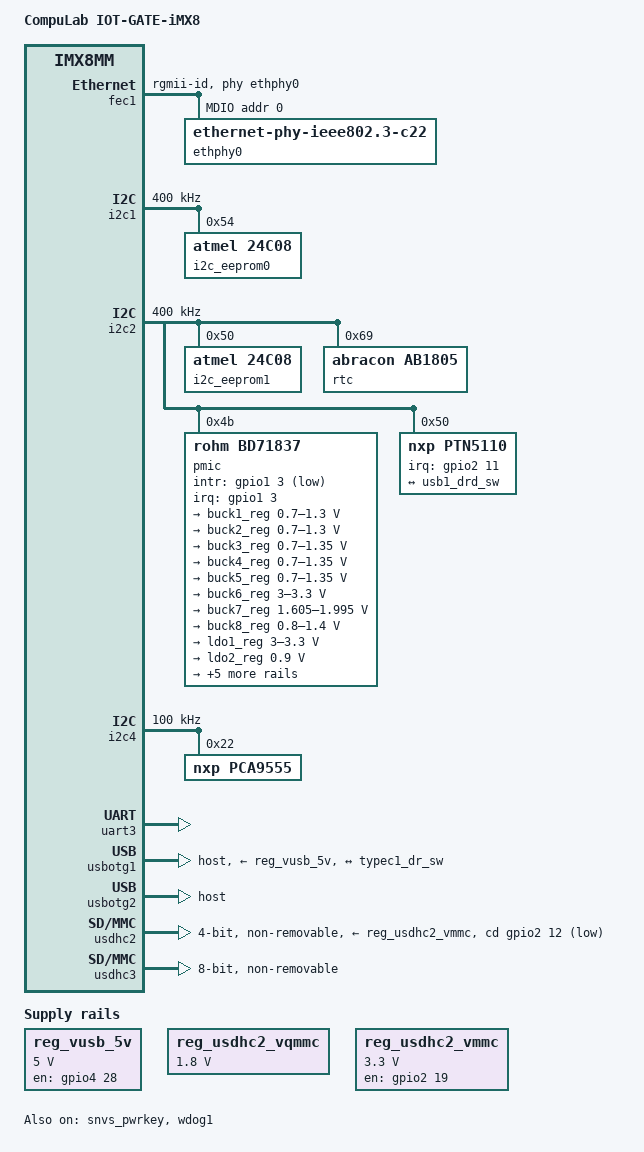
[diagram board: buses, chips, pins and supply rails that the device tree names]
// SPDX-License-Identifier: (GPL-2.0+ OR MIT)
/*
 * Copyright 2019 NXP
 */

/dts-v1/;

#include <dt-bindings/usb/pd.h>
#include "imx8mm.dtsi"

/ {
	model = "CompuLab IOT-GATE-iMX8";
	compatible = "sb-iotgimx8", "cpl,ucm-imx8m-mini", "fsl,imx8mm-evk", "fsl,imx8mm";

	chosen {
		bootargs = "console=ttymxc2,115200 earlycon=ec_imx6q,0x30880000,115200";
		stdout-path = &uart3;
	};

	aliases {
		eeprom0 = &i2c_eeprom0;
		eeprom1 = &i2c_eeprom1;
	};

	reg_vusb_5v: regulator-usdhc2 {
		compatible = "regulator-fixed";
		regulator-name = "VUSB_5V";
		regulator-min-microvolt = <5000000>;
		regulator-max-microvolt = <5000000>;
		gpio = <&gpio4 28 GPIO_ACTIVE_HIGH>;
		regulator-boot-on;
		enable-active-high;
	};

	reg_usdhc2_vqmmc: regulator-usdhc2_1v8 {
		compatible = "regulator-fixed";
		regulator-name = "usdhc2_1v8";
		regulator-min-microvolt = <1800000>;
		regulator-max-microvolt = <1800000>;
		regulator-always-on;
	};

	reg_usdhc2_vmmc: regulator-usdhc2-vmmc {
		compatible = "regulator-fixed";
		regulator-name = "VSD_3V3";
		regulator-min-microvolt = <3300000>;
		regulator-max-microvolt = <3300000>;
		gpio = <&gpio2 19 GPIO_ACTIVE_HIGH>;
		enable-active-high;
		startup-delay-us = <100>;
		off-on-delay-us = <12000>;
	};
};

&A53_0 {
	cpu-supply = <&buck2_reg>;
};

&fec1 {
	pinctrl-names = "default";
	pinctrl-0 = <&pinctrl_fec1>;
	phy-mode = "rgmii-id";
	phy-handle = <&ethphy0>;
	fsl,magic-packet;
	status = "okay";

	mdio {
		#address-cells = <1>;
		#size-cells = <0>;

		ethphy0: ethernet-phy@0 {
			compatible = "ethernet-phy-ieee802.3-c22";
			reg = <0>;
			at803x,led-act-blind-workaround;
			at803x,eee-okay;
			at803x,vddio-1p8v;
		};
	};
};

&i2c1 {
	clock-frequency = <400000>;
	pinctrl-names = "default";
	pinctrl-0 = <&pinctrl_i2c1>;
	status = "okay";

	i2c_eeprom0: eeprom@54 {
		  compatible = "atmel,24c08";
		  reg = <0x54>;
		  pagesize = <16>;
	};
};

&i2c2 {
	clock-frequency = <400000>;
	pinctrl-names = "default";
	pinctrl-0 = <&pinctrl_i2c2>;
	status = "okay";

	i2c_eeprom1: eeprom@50 {
		  compatible = "atmel,24c08";
		  reg = <0x50>;
		  pagesize = <16>;
	};
	rtc@69 {
		compatible = "abracon,ab1805";
		reg = <0x69>;
		pagesize = <16>;
		status = "okay";
	};

	pmic@4b {
		compatible = "rohm,bd71837";
		reg = <0x4b>;
		pinctrl-0 = <&pinctrl_pmic>;
		gpio_intr = <&gpio1 3 GPIO_ACTIVE_LOW>;
		interrupt-parent = <&gpio1>;
		interrupts = <3 GPIO_ACTIVE_LOW>;

		gpo {
			rohm,drv = <0x0C>;      /* 0b0000_1100 all gpos with cmos output mode */
		};

		regulators {
			bd71837,pmic-buck2-uses-i2c-dvs;
			bd71837,pmic-buck2-dvs-voltage = <1000000>,
				<900000>,
				<0>; /* VDD_ARM: Run-Idle */
			buck1_reg: BUCK1 {
				regulator-name = "BUCK1";
				regulator-min-microvolt = <700000>;
				regulator-max-microvolt = <1300000>;
				regulator-boot-on;
				regulator-always-on;
				regulator-ramp-delay = <1250>;
			};

			buck2_reg: BUCK2 {
				regulator-name = "BUCK2";
				regulator-min-microvolt = <700000>;
				regulator-max-microvolt = <1300000>;
				regulator-boot-on;
				regulator-always-on;
				regulator-ramp-delay = <1250>;
			};

			buck3_reg: BUCK3 {
				regulator-name = "BUCK3";
				regulator-min-microvolt = <700000>;
				regulator-max-microvolt = <1350000>;
			};

			buck4_reg: BUCK4 {
				regulator-name = "BUCK4";
				regulator-min-microvolt = <700000>;
				regulator-max-microvolt = <1350000>;
				regulator-boot-on;
				regulator-always-on;
			};

			buck5_reg: BUCK5 {
				regulator-name = "BUCK5";
				regulator-min-microvolt = <700000>;
				regulator-max-microvolt = <1350000>;
				regulator-boot-on;
				regulator-always-on;
			};

			buck6_reg: BUCK6 {
				regulator-name = "BUCK6";
				regulator-min-microvolt = <3000000>;
				regulator-max-microvolt = <3300000>;
				regulator-boot-on;
				regulator-always-on;
			};

			buck7_reg: BUCK7 {
				regulator-name = "BUCK7";
				regulator-min-microvolt = <1605000>;
				regulator-max-microvolt = <1995000>;
				regulator-boot-on;
				regulator-always-on;
			};

			buck8_reg: BUCK8 {
				regulator-name = "BUCK8";
				regulator-min-microvolt = <800000>;
				regulator-max-microvolt = <1400000>;
				regulator-boot-on;
				regulator-always-on;
			};

			ldo1_reg: LDO1 {
				regulator-name = "LDO1";
				regulator-min-microvolt = <3000000>;
				regulator-max-microvolt = <3300000>;
				regulator-boot-on;
				regulator-always-on;
			};

			ldo2_reg: LDO2 {
				regulator-name = "LDO2";
				regulator-min-microvolt = <900000>;
				regulator-max-microvolt = <900000>;
				regulator-boot-on;
				regulator-always-on;
			};

			ldo3_reg: LDO3 {
				regulator-name = "LDO3";
				regulator-min-microvolt = <1800000>;
				regulator-max-microvolt = <3300000>;
				regulator-boot-on;
				regulator-always-on;
			};

			ldo4_reg: LDO4 {
				regulator-name = "LDO4";
				regulator-min-microvolt = <900000>;
				regulator-max-microvolt = <1800000>;
				regulator-boot-on;
				regulator-always-on;
			};

			ldo5_reg: LDO5 {
				regulator-name = "LDO5";
				regulator-min-microvolt = <1800000>;
				regulator-max-microvolt = <3300000>;
				regulator-boot-on;
				regulator-always-on;
			};

			ldo6_reg: LDO6 {
				regulator-name = "LDO6";
				regulator-min-microvolt = <900000>;
				regulator-max-microvolt = <1800000>;
				regulator-boot-on;
				regulator-always-on;
			};

			ldo7_reg: LDO7 {
				regulator-name = "LDO7";
				regulator-min-microvolt = <1800000>;
				regulator-max-microvolt = <3300000>;
			};
		};
	};

	ptn5110: tcpc@50 {
		compatible = "nxp,ptn5110";
		pinctrl-names = "default";
		pinctrl-0 = <&pinctrl_typec1>;
		reg = <0x50>;
		interrupt-parent = <&gpio2>;
		interrupts = <11 8>;
		status = "okay";

		port {
			typec1_dr_sw: endpoint {
				remote-endpoint = <&usb1_drd_sw>;
			};
		};

		typec1_con: connector {
			compatible = "usb-c-connector";
			label = "USB-C";
			power-role = "dual";
			data-role = "dual";
			try-power-role = "sink";
			source-pdos = <PDO_FIXED(5000, 3000, PDO_FIXED_USB_COMM)>;
			sink-pdos = <PDO_FIXED(5000, 3000, PDO_FIXED_USB_COMM)
				     PDO_VAR(5000, 20000, 3000)>;
			op-sink-microwatt = <15000000>;
			self-powered;
		};
	};
};

&i2c3 {
	clock-frequency = <400000>;
	pinctrl-names = "default";
	pinctrl-0 = <&pinctrl_i2c3>;
	status = "disabled";
};

&i2c4 {/* Expansion connector I2C */
	clock-frequency = <100000>;
	pinctrl-names = "default";
	pinctrl-0 = <&pinctrl_i2c4>;
	status = "okay";

	pca9555: gpio@22 {
		compatible = "nxp,pca9555";
		reg = <0x22>;
		gpio-controller;
		#gpio-cells = <2>;
	};
};

&snvs_pwrkey {
	status = "okay";
};

&uart3 { /* console */
	pinctrl-names = "default";
	pinctrl-0 = <&pinctrl_uart3>;
	status = "okay";
};

&usbotg1 {
	dr_mode = "host";
	hnp-disable;
	srp-disable;
	adp-disable;
	usb-role-switch;
	vbus-supply = <&reg_vusb_5v>;
	status = "okay";

	port {
		usb1_drd_sw: endpoint {
			remote-endpoint = <&typec1_dr_sw>;
		};
	};
};

&usbotg2 {
	dr_mode = "host";
	status = "okay";
};

&usdhc2 {
	pinctrl-names = "default", "state_100mhz", "state_200mhz";
	pinctrl-0 = <&pinctrl_usdhc2>, <&pinctrl_usdhc2_gpio>;
	pinctrl-1 = <&pinctrl_usdhc2_100mhz>, <&pinctrl_usdhc2_gpio>;
	pinctrl-2 = <&pinctrl_usdhc2_200mhz>, <&pinctrl_usdhc2_gpio>;
	cd-gpios = <&gpio2 12 GPIO_ACTIVE_LOW>;
	bus-width = <4>;
	fsl,wp-controller;
	vmmc-supply = <&reg_usdhc2_vmmc>;
	no-1-8-v;
	mmc-ddr-1_8v;
	non-removable;
	vqmmc-supply = <&reg_usdhc2_vqmmc>;
	status = "okay";
};

&usdhc3 {
	pinctrl-names = "default", "state_100mhz";
	pinctrl-0 = <&pinctrl_usdhc3>;
	pinctrl-1 = <&pinctrl_usdhc3_100mhz>;
	bus-width = <8>;
	non-removable;
	status = "okay";
};

&wdog1 {
	pinctrl-names = "default";
	pinctrl-0 = <&pinctrl_wdog>;
	fsl,ext-reset-output;
	status = "okay";
};

&iomuxc {
	pinctrl-names = "default";

	pinctrl_hog: hoggrp {
		fsl,pins = <
			/* USB VBUS enable GPIO */
			MX8MM_IOMUXC_SAI3_RXFS_GPIO4_IO28		0x00
		>;
	};

	pinctrl_hog_1: hoggrp-1 {
		fsl,pins = <
			MX8MM_IOMUXC_GPIO1_IO08_GPIO1_IO8		0x19
			MX8MM_IOMUXC_GPIO1_IO00_GPIO1_IO0		0x140
			MX8MM_IOMUXC_GPIO1_IO15_GPIO1_IO15		0x140
		>;
	};

	pinctrl_fec1: fec1grp {
		fsl,pins = <
			MX8MM_IOMUXC_ENET_MDC_ENET1_MDC			0x3
			MX8MM_IOMUXC_ENET_MDIO_ENET1_MDIO		0x3
			MX8MM_IOMUXC_ENET_TD3_ENET1_RGMII_TD3		0x1f
			MX8MM_IOMUXC_ENET_TD2_ENET1_RGMII_TD2		0x1f
			MX8MM_IOMUXC_ENET_TD1_ENET1_RGMII_TD1		0x1f
			MX8MM_IOMUXC_ENET_TD0_ENET1_RGMII_TD0		0x1f
			MX8MM_IOMUXC_ENET_RD3_ENET1_RGMII_RD3		0x91
			MX8MM_IOMUXC_ENET_RD2_ENET1_RGMII_RD2		0x91
			MX8MM_IOMUXC_ENET_RD1_ENET1_RGMII_RD1		0x91
			MX8MM_IOMUXC_ENET_RD0_ENET1_RGMII_RD0		0x91
			MX8MM_IOMUXC_ENET_TXC_ENET1_RGMII_TXC		0x1f
			MX8MM_IOMUXC_ENET_RXC_ENET1_RGMII_RXC		0x91
			MX8MM_IOMUXC_ENET_RX_CTL_ENET1_RGMII_RX_CTL	0x91
			MX8MM_IOMUXC_ENET_TX_CTL_ENET1_RGMII_TX_CTL	0x1f
			MX8MM_IOMUXC_SAI2_RXC_GPIO4_IO22		0x19
		>;
	};

	pinctrl_flexspi0: flexspi0grp {
		fsl,pins = <
			MX8MM_IOMUXC_NAND_ALE_QSPI_A_SCLK	0x1c4
			MX8MM_IOMUXC_NAND_CE0_B_QSPI_A_SS0_B	0x84
			MX8MM_IOMUXC_NAND_DATA00_QSPI_A_DATA0	0x84
			MX8MM_IOMUXC_NAND_DATA01_QSPI_A_DATA1	0x84
			MX8MM_IOMUXC_NAND_DATA02_QSPI_A_DATA2	0x84
			MX8MM_IOMUXC_NAND_DATA03_QSPI_A_DATA3	0x84
		>;
	};

	pinctrl_i2c1: i2c1grp {
		fsl,pins = <
			MX8MM_IOMUXC_I2C1_SCL_I2C1_SCL			0x400001c3
			MX8MM_IOMUXC_I2C1_SDA_I2C1_SDA			0x400001c3
		>;
	};

	pinctrl_i2c2: i2c2grp {
		fsl,pins = <
			MX8MM_IOMUXC_I2C2_SCL_I2C2_SCL			0x400001c3
			MX8MM_IOMUXC_I2C2_SDA_I2C2_SDA			0x400001c3
		>;
	};

	pinctrl_i2c3: i2c3grp {
		fsl,pins = <
			MX8MM_IOMUXC_I2C3_SCL_I2C3_SCL			0x400001c3
			MX8MM_IOMUXC_I2C3_SDA_I2C3_SDA			0x400001c3
		>;
	};

	pinctrl_i2c4: i2c4grp {
		fsl,pins = <
			MX8MM_IOMUXC_I2C4_SCL_I2C4_SCL			0x400001c3
			MX8MM_IOMUXC_I2C4_SDA_I2C4_SDA			0x400001c3
		>;
	};

	pinctrl_pmic: pmicirq {
		fsl,pins = <
			MX8MM_IOMUXC_GPIO1_IO03_GPIO1_IO3		0x41
		>;
	};

	pinctrl_typec1: typec1grp {
		fsl,pins = <
			MX8MM_IOMUXC_SD1_STROBE_GPIO2_IO11	0x159
		>;
	};

	pinctrl_uart3: uart1grp {
		fsl,pins = <
			MX8MM_IOMUXC_UART3_RXD_UART3_DCE_RX		0x49
			MX8MM_IOMUXC_UART3_TXD_UART3_DCE_TX		0x49
		>;
	};

	pinctrl_uart4: uart4grp {
		fsl,pins = <
			MX8MM_IOMUXC_ECSPI2_MISO_UART4_DCE_CTS_B	0x49
			MX8MM_IOMUXC_ECSPI2_MOSI_UART4_DCE_TX		0x49
			MX8MM_IOMUXC_ECSPI2_SS0_UART4_DCE_RTS_B		0x49
			MX8MM_IOMUXC_ECSPI2_SCLK_UART4_DCE_RX		0x49
		>;
	};

	pinctrl_usdhc2_gpio: usdhc2grpgpio {
		fsl,pins = <
			MX8MM_IOMUXC_SD2_RESET_B_GPIO2_IO19	0x41
		>;
	};

	pinctrl_usdhc2: usdhc2grp {
		fsl,pins = <
			MX8MM_IOMUXC_SD2_CLK_USDHC2_CLK		0x190
			MX8MM_IOMUXC_SD2_CMD_USDHC2_CMD		0x1d0
			MX8MM_IOMUXC_SD2_DATA0_USDHC2_DATA0	0x1d0
			MX8MM_IOMUXC_SD2_DATA1_USDHC2_DATA1	0x1d0
			MX8MM_IOMUXC_SD2_DATA2_USDHC2_DATA2	0x1d0
			MX8MM_IOMUXC_SD2_DATA3_USDHC2_DATA3	0x1d0
			MX8MM_IOMUXC_GPIO1_IO04_USDHC2_VSELECT	0x1d0
		>;
	};

	pinctrl_usdhc2_100mhz: usdhc2grp100mhz {
		fsl,pins = <
			MX8MM_IOMUXC_SD2_CLK_USDHC2_CLK		0x194
			MX8MM_IOMUXC_SD2_CMD_USDHC2_CMD		0x1d4
			MX8MM_IOMUXC_SD2_DATA0_USDHC2_DATA0	0x1d4
			MX8MM_IOMUXC_SD2_DATA1_USDHC2_DATA1	0x1d4
			MX8MM_IOMUXC_SD2_DATA2_USDHC2_DATA2	0x1d4
			MX8MM_IOMUXC_SD2_DATA3_USDHC2_DATA3	0x1d4
			MX8MM_IOMUXC_GPIO1_IO04_USDHC2_VSELECT	0x1d0
		>;
	};

	pinctrl_usdhc2_200mhz: usdhc2grp200mhz {
		fsl,pins = <
			MX8MM_IOMUXC_SD2_CLK_USDHC2_CLK		0x196
			MX8MM_IOMUXC_SD2_CMD_USDHC2_CMD		0x1d6
			MX8MM_IOMUXC_SD2_DATA0_USDHC2_DATA0	0x1d6
			MX8MM_IOMUXC_SD2_DATA1_USDHC2_DATA1	0x1d6
			MX8MM_IOMUXC_SD2_DATA2_USDHC2_DATA2	0x1d6
			MX8MM_IOMUXC_SD2_DATA3_USDHC2_DATA3	0x1d6
			MX8MM_IOMUXC_GPIO1_IO04_USDHC2_VSELECT	0x1d0
		>;
	};

	pinctrl_usdhc3: usdhc3grp {
		fsl,pins = <
			MX8MM_IOMUXC_NAND_WE_B_USDHC3_CLK		0x40000190
			MX8MM_IOMUXC_NAND_WP_B_USDHC3_CMD		0x1d0
			MX8MM_IOMUXC_NAND_DATA04_USDHC3_DATA0		0x1d0
			MX8MM_IOMUXC_NAND_DATA05_USDHC3_DATA1		0x1d0
			MX8MM_IOMUXC_NAND_DATA06_USDHC3_DATA2		0x1d0
			MX8MM_IOMUXC_NAND_DATA07_USDHC3_DATA3		0x1d0
			MX8MM_IOMUXC_NAND_RE_B_USDHC3_DATA4		0x1d0
			MX8MM_IOMUXC_NAND_CE2_B_USDHC3_DATA5		0x1d0
			MX8MM_IOMUXC_NAND_CE3_B_USDHC3_DATA6		0x1d0
			MX8MM_IOMUXC_NAND_CLE_USDHC3_DATA7		0x1d0
			MX8MM_IOMUXC_NAND_CE1_B_USDHC3_STROBE		0x190
		>;
	};

	pinctrl_usdhc3_100mhz: usdhc3grp100mhz {
		fsl,pins = <
			MX8MM_IOMUXC_NAND_WE_B_USDHC3_CLK		0x40000194
			MX8MM_IOMUXC_NAND_WP_B_USDHC3_CMD		0x1d4
			MX8MM_IOMUXC_NAND_DATA04_USDHC3_DATA0		0x1d4
			MX8MM_IOMUXC_NAND_DATA05_USDHC3_DATA1		0x1d4
			MX8MM_IOMUXC_NAND_DATA06_USDHC3_DATA2		0x1d4
			MX8MM_IOMUXC_NAND_DATA07_USDHC3_DATA3		0x1d4
			MX8MM_IOMUXC_NAND_RE_B_USDHC3_DATA4		0x1d4
			MX8MM_IOMUXC_NAND_CE2_B_USDHC3_DATA5		0x1d4
			MX8MM_IOMUXC_NAND_CE3_B_USDHC3_DATA6		0x1d4
			MX8MM_IOMUXC_NAND_CLE_USDHC3_DATA7		0x1d4
			MX8MM_IOMUXC_NAND_CE1_B_USDHC3_STROBE		0x194
		>;
	};

	pinctrl_usdhc3_200mhz: usdhc3grp200mhz {
		fsl,pins = <
			MX8MM_IOMUXC_NAND_WE_B_USDHC3_CLK		0x40000196
			MX8MM_IOMUXC_NAND_WP_B_USDHC3_CMD		0x1d6
			MX8MM_IOMUXC_NAND_DATA04_USDHC3_DATA0		0x1d6
			MX8MM_IOMUXC_NAND_DATA05_USDHC3_DATA1		0x1d6
			MX8MM_IOMUXC_NAND_DATA06_USDHC3_DATA2		0x1d6
			MX8MM_IOMUXC_NAND_DATA07_USDHC3_DATA3		0x1d6
			MX8MM_IOMUXC_NAND_RE_B_USDHC3_DATA4		0x1d6
			MX8MM_IOMUXC_NAND_CE2_B_USDHC3_DATA5		0x1d6
			MX8MM_IOMUXC_NAND_CE3_B_USDHC3_DATA6		0x1d6
			MX8MM_IOMUXC_NAND_CLE_USDHC3_DATA7		0x1d6
			MX8MM_IOMUXC_NAND_CE1_B_USDHC3_STROBE		0x196
		>;
	};

	pinctrl_wdog: wdoggrp {
		fsl,pins = <
			MX8MM_IOMUXC_GPIO1_IO02_WDOG1_WDOG_B	0xc6
		>;
	};
};
